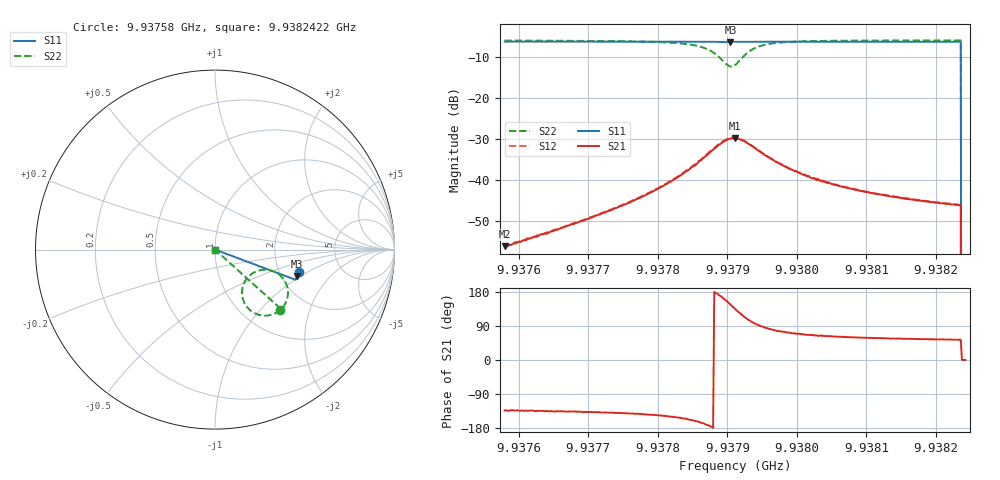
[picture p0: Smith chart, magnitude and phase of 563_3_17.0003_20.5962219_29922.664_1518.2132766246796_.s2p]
#  HZ  S  RI  R  50.00
! Rohde & Schwarz Vector Network Analyzer
! Rohde-Schwarz,ZNB20-2Port,1311601062101988,3.16
! Created: UTC 3/20/2024, 11:17:18 PM
! freq[Hz]  re:S11  im:S11  re:S21  im:S21  re:S12  im:S12  re:S22  im:S22
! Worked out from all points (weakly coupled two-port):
!   401 points, 9.93758 GHz to 9.9382422 GHz, reference 50 ohm
!   highest |S21| = -29.80 dB at 9.9379111 GHz (marker M1); lowest = -56.1 dB at 9.93758 GHz (marker M2)
!   lowest |S11| = -6.4 dB at 9.9379045 GHz (marker M3), VSWR 2.82, Z = 121 - j45.8 ohm
!   |S11| at or under -10 dB: 9.9382356 GHz to end of sweep
!   |S22| runs from - to -6.1 dB; largest |S21 - S12| = 0.0014
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9.93758002e9  0.4655 -0.1266  -0.00107 -0.00114  -0.00109 -0.00112  0.364 -0.3366
9.93764293e9  0.464 -0.131  -0.00163 -0.00161  -0.00168 -0.00162  0.3557 -0.3428
9.93769094e9  0.4628 -0.1343  -0.00231 -0.00216  -0.00235 -0.00219  0.347 -0.3483
9.93775716e9  0.4611 -0.1388  -0.00406 -0.00328  -0.00416 -0.00331  0.3285 -0.358
9.93780186e9  0.4597 -0.1418  -0.0066 -0.00442  -0.0068 -0.0044  0.3044 -0.3652
9.93783497e9  0.4585 -0.1441  -0.0104 -0.00524  -0.0108 -0.00514  0.2708 -0.3679
9.93786476e9  0.457 -0.1462  -0.0177 -0.00422  -0.0182 -0.0039  0.2132 -0.3502
9.93787801e9  0.4557 -0.1467  -0.0228 -0.00122  -0.0233 -0.000603  0.1774 -0.3188
9.9378896e9  0.455 -0.1469  -0.0267 0.00491  -0.0274 0.00565  0.1526 -0.2642
9.93789953e9  0.4543 -0.1467  -0.028 0.013  -0.0281 0.0143  0.1576 -0.1975
9.9379045e9  0.4541 -0.1462  -0.0265 0.0174  -0.0267 0.0189  0.175 -0.1642
9.93791112e9  0.4544 -0.146  -0.0228 0.0229  -0.0223 0.024  0.2132 -0.1296
9.93791939e9  0.455 -0.146  -0.016 0.0264  -0.0154 0.0273  0.2714 -0.1121
9.93793098e9  0.4557 -0.1465  -0.00734 0.0264  -0.00651 0.0269  0.3396 -0.1276
9.93794754e9  0.4561 -0.1479  1.39e-05 0.022  0.000553 0.0222  0.3886 -0.1748
9.93798396e9  0.4559 -0.1512  0.00411 0.0138  0.00444 0.0139  0.4065 -0.246
9.93802203e9  0.4553 -0.1541  0.00419 0.00958  0.00458 0.00976  0.4002 -0.2804
9.93807004e9  0.4538 -0.1574  0.00398 0.00704  0.00413 0.00705  0.3911 -0.3023
9.93813295e9  0.4522 -0.1617  0.00349 0.0053  0.00362 0.00529  0.3813 -0.318
9.93823228e9  0.4494 -0.1681  0.00294 0.00399  0.00304 0.00398  0.3699 -0.3323
9.93824056e9  0 0  0 0  0 0  0 0
9.93824221e9  0 0  0 0  0 0  0 0
